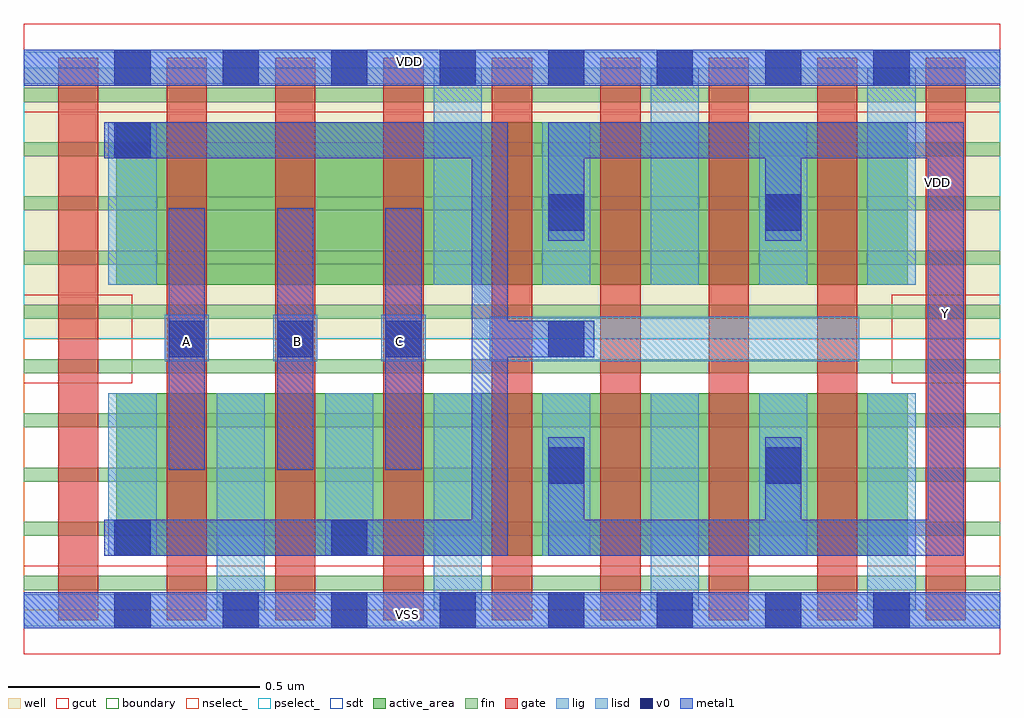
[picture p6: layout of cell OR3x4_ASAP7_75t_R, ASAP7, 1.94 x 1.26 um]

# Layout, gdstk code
import gdstk
lib = gdstk.Library(unit=1e-6, precision=2.5e-10)
def R(c, l, rs):  # rectangles x0, y0, x1, y1
    for r in rs: c.add(gdstk.rectangle(r[:2], r[2:], *l))
def A(c, l, x, y, w, h, nx, ny, dx, dy):  # array of equal rectangles
    R(c, l, [(x+i*dx, y+j*dy, x+i*dx+w, y+j*dy+h) for i in range(nx) for j in range(ny)])
def P(c, l, *ps):  # polygons
    for p in ps: c.add(gdstk.Polygon(p, *l))
well = (1, 0)
fin = (2, 0)
gate = (7, 0)
gcut = (10, 0)
active_area = (11, 0)
nselect_ = (12, 0)
pselect_ = (13, 0)
lig = (16, 0)
lisd = (17, 0)
v0 = (18, 0)
metal1 = (19, 0)
sdt = (88, 0)
boundary = (100, 0)

or3x4_asap7_75t_r = lib.new_cell('OR3x4_ASAP7_75t_R')
R(or3x4_asap7_75t_r, well, [(0,0.54,1.944,1.08)])
A(or3x4_asap7_75t_r, fin, 0, 0.04, 1.944, 0.028, 1, 10, 0, 0.108)
A(or3x4_asap7_75t_r, gate, 0.068, -0.02, 0.08, 1.12, 9, 1, 0.216, 0)
R(or3x4_asap7_75t_r, gcut, [(0,-0.088,1.944,0.088), (0,0.452,0.216,0.628), (1.728,0.452,1.944,0.628), (0,0.992,1.944,1.168)])
R(or3x4_asap7_75t_r, active_area, [(0.184,0.108,1.76,0.432), (0.184,0.648,1.76,0.972)])
R(or3x4_asap7_75t_r, nselect_, [(0,0,1.944,0.54)])
R(or3x4_asap7_75t_r, pselect_, [(0,0.54,1.944,1.08)])
A(or3x4_asap7_75t_r, lig, 0.28, 0.496, 0.088, 0.092, 3, 1, 0.216, 0)
R(or3x4_asap7_75t_r, lig, [(0,-0.032,1.944,0.032), (0.928,0.496,1.664,0.584), (0,1.048,1.944,1.112)])
A(or3x4_asap7_75t_r, lisd, 0.384, 0, 0.096, 0.432, 4, 1, 0.432, 0)
A(or3x4_asap7_75t_r, lisd, 0.168, 0.108, 0.096, 0.324, 4, 1, 0.432, 0)
A(or3x4_asap7_75t_r, lisd, 0.816, 0.648, 0.096, 0.432, 3, 1, 0.432, 0)
R(or3x4_asap7_75t_r, lisd, [(0.168,0.648,0.264,0.972), (1.032,0.648,1.128,0.972), (1.464,0.648,1.56,0.972)])
A(or3x4_asap7_75t_r, v0, 0.18, -0.036, 0.072, 0.072, 8, 2, 0.216, 1.08)
A(or3x4_asap7_75t_r, v0, 1.044, 0.252, 0.072, 0.072, 1, 3, 0, 0.252)
A(or3x4_asap7_75t_r, v0, 0.288, 0.504, 0.072, 0.072, 3, 1, 0.216, 0)
R(or3x4_asap7_75t_r, v0, [(0.18,0.108,0.252,0.18), (0.612,0.108,0.684,0.18), (1.476,0.252,1.548,0.324), (1.476,0.756,1.548,0.828), (0.18,0.9,0.252,0.972)])
A(or3x4_asap7_75t_r, metal1, 0.288, 0.28, 0.072, 0.52, 3, 1, 0.216, 0)
R(or3x4_asap7_75t_r, metal1, [(0,-0.036,1.944,0.036), (0,1.044,1.944,1.116)])
P(or3x4_asap7_75t_r, metal1, [(0.16,0.108),(0.16,0.18),(0.892,0.18),(0.892,0.9),(0.16,0.9),(0.16,0.972),(0.964,0.972),(0.964,0.576),(1.136,0.576),(1.136,0.504),(0.964,0.504),(0.964,0.108)],
  [(1.044,0.108),(1.044,0.344),(1.116,0.344),(1.116,0.18),(1.476,0.18),(1.476,0.344),(1.548,0.344),(1.548,0.18),(1.8,0.18),(1.8,0.9),(1.548,0.9),(1.548,0.736),(1.476,0.736),(1.476,0.9),(1.116,0.9),(1.116,0.736),(1.044,0.736),(1.044,0.972),(1.872,0.972),(1.872,0.108)])
A(or3x4_asap7_75t_r, sdt, 0.168, 0.108, 0.096, 0.324, 8, 1, 0.216, 0)
A(or3x4_asap7_75t_r, sdt, 0.816, 0.648, 0.096, 0.324, 5, 1, 0.216, 0)
R(or3x4_asap7_75t_r, sdt, [(0.168,0.648,0.264,0.972)])
R(or3x4_asap7_75t_r, boundary, [(0,0,1.944,1.08)])
or3x4_asap7_75t_r.add(gdstk.Label('Y', (1.836,0.59), layer=19, texttype=251))
or3x4_asap7_75t_r.add(gdstk.Label('C', (0.748,0.536), layer=19, texttype=251))
or3x4_asap7_75t_r.add(gdstk.Label('VSS', (0.764,-0.008), layer=19, texttype=251))
or3x4_asap7_75t_r.add(gdstk.Label('VDD', (0.768,1.092), layer=19, texttype=251))
or3x4_asap7_75t_r.add(gdstk.Label('A', (0.324,0.536), layer=19, texttype=251))
or3x4_asap7_75t_r.add(gdstk.Label('B', (0.544,0.536), layer=19, texttype=251))
or3x4_asap7_75t_r.add(gdstk.Label('VDD', (1.82,0.852), layer=1, texttype=251))
or3x4_asap7_75t_r.add(gdstk.Label('VSS', (2.096,0.848), layer=3, texttype=251))

lib.write_gds('OR3x4_ASAP7_75t_R.gds')
